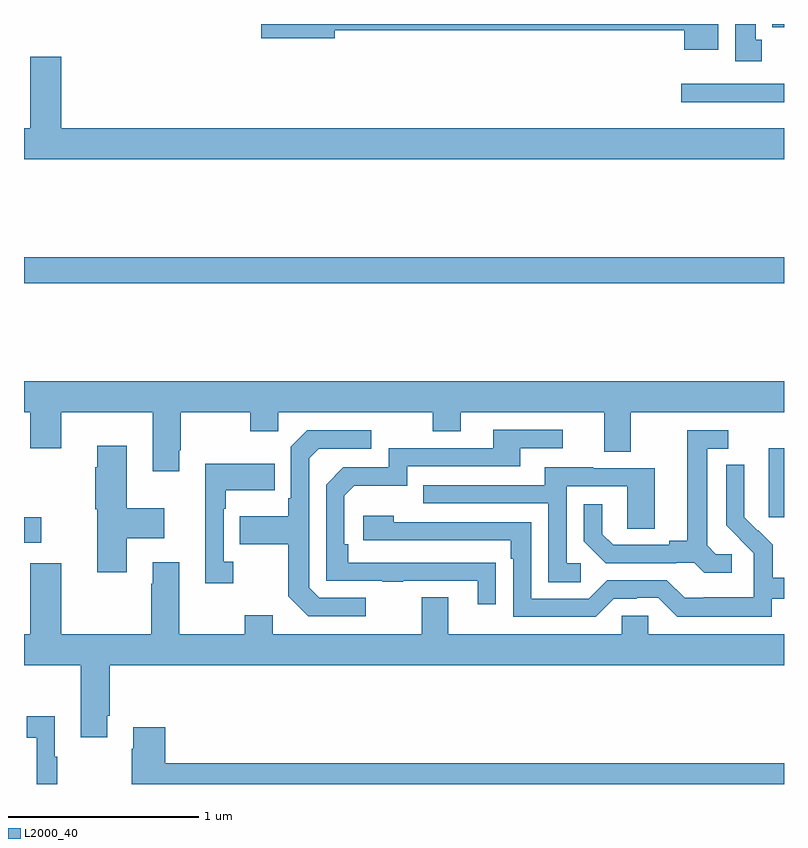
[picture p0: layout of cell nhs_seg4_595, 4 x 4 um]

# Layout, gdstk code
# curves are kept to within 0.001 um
import gdstk
lib = gdstk.Library(unit=1e-6, precision=1e-09)
def R(c, l, rs):  # rectangles x0, y0, x1, y1
    for r in rs: c.add(gdstk.rectangle(r[:2], r[2:], *l))
def P(c, l, *ps):  # polygons
    for p in ps: c.add(gdstk.Polygon(p, *l))
L2000_40 = (2000, 40)

nhs_seg4_595 = lib.new_cell('nhs_seg4_595')
R(nhs_seg4_595, L2000_40, [(141,760.169,141.091,760.304), (144.92,760.305,145,760.666), (141,761.536,145,761.672), (144.459,762.488,145,762.585), (144.938,762.884,145,762.9)])
P(nhs_seg4_595, L2000_40, [(144.655,762.9),(142.248,762.9),(142.248,762.826),(142.636,762.826),(142.636,762.868),(144.476,762.868),(144.476,762.764),(144.655,762.764)],
  [(144.883,762.818),(144.85,762.818),(144.85,762.9),(144.743,762.9),(144.743,762.705),(144.883,762.705)],
  [(145,762.352),(141.196,762.352),(141.196,762.727),(141.032,762.727),(141.032,762.352),(141,762.352),(141,762.188),(145,762.188)],
  [(141.817,760.657),(141.825,760.657),(141.825,760.856),(142.192,760.856),(142.192,760.757),(142.338,760.757),(142.338,760.856),(143.152,760.856),(143.152,760.757),(143.299,760.757),(143.299,760.856),(144.053,760.856),(144.053,760.648),(144.193,760.648),(144.193,760.856),(145,760.856),(145,761.02),(141,761.02),(141,760.856),(141.032,760.856),(141.032,760.668),(141.196,760.668),(141.196,760.856),(141.677,760.856),(141.677,760.545),(141.817,760.545)],
  [(143.483,760.064),(142.706,760.065),(142.706,760.162),(142.686,760.162),(142.686,760.416),(142.739,760.469),(143.016,760.469),(143.016,760.572),(143.611,760.572),(143.611,760.668),(143.836,760.668),(143.836,760.764),(143.471,760.764),(143.471,760.668),(142.92,760.668),(142.92,760.566),(142.68,760.566),(142.59,760.476),(142.59,759.969),(142.885,759.969),(142.885,759.964),(142.997,759.964),(142.997,759.969),(143.387,759.969),(143.387,759.846),(143.483,759.846)],
  [(142.798,759.879),(142.554,759.879),(142.5,759.933),(142.5,760.614),(142.551,760.665),(142.828,760.665),(142.828,760.761),(142.491,760.761),(142.404,760.674),(142.404,760.405),(142.392,760.405),(142.392,760.309),(142.135,760.309),(142.135,760.162),(142.392,760.162),(142.392,759.889),(142.497,759.783),(142.798,759.783)],
  [(144.724,760.11),(144.642,760.11),(144.595,760.157),(144.595,760.665),(144.706,760.665),(144.706,760.761),(144.491,760.761),(144.491,760.181),(144.395,760.181),(144.395,760.158),(144.1,760.158),(144.043,760.215),(144.043,760.372),(143.946,760.372),(143.946,760.178),(144.062,760.062),(144.434,760.062),(144.434,760.065),(144.528,760.065),(144.58,760.013),(144.724,760.013)],
  [(141.541,760.193),(141.739,760.193),(141.739,760.351),(141.541,760.351),(141.541,760.681),(141.386,760.681),(141.386,760.568),(141.374,760.568),(141.374,760.347),(141.386,760.347),(141.386,760.014),(141.541,760.014)],
  [(142.102,760.07),(142.05,760.07),(142.05,760.349),(142.063,760.349),(142.063,760.445),(142.319,760.445),(142.319,760.585),(141.953,760.585),(141.953,759.957),(142.102,759.957)],
  [(144.936,759.876),(145,759.876),(145,759.985),(144.941,759.985),(144.941,760.159),(144.864,760.236),(144.861,760.233),(144.791,760.304),(144.792,760.58),(144.696,760.58),(144.696,760.262),(144.842,760.114),(144.842,760.017),(144.84,760.017),(144.84,759.883),(144.577,759.883),(144.577,759.879),(144.477,759.879),(144.384,759.972),(144.069,759.972),(143.973,759.876),(143.67,759.876),(143.67,760.278),(142.946,760.278),(142.946,760.312),(142.785,760.312),(142.785,760.182),(143.561,760.182),(143.561,760.085),(143.574,760.085),(143.574,759.78),(144.009,759.78),(144.105,759.876),(144.224,759.876),(144.224,759.879),(144.339,759.879),(144.439,759.779),(144.936,759.779)],
  [(143.929,760.062),(143.856,760.062),(143.856,760.467),(144.174,760.467),(144.174,760.243),(144.319,760.243),(144.319,760.563),(143.995,760.563),(143.995,760.567),(143.741,760.567),(143.741,760.473),(143.101,760.473),(143.101,760.377),(143.76,760.377),(143.76,759.961),(143.929,759.961)],
  [(141.439,759.259),(141.452,759.259),(141.452,759.524),(145,759.524),(145,759.688),(144.285,759.688),(144.285,759.786),(144.147,759.786),(144.147,759.688),(143.233,759.688),(143.233,759.883),(143.093,759.883),(143.093,759.688),(142.309,759.688),(142.309,759.787),(142.162,759.787),(142.162,759.688),(141.817,759.688),(141.817,760.066),(141.677,760.066),(141.677,759.953),(141.67,759.953),(141.67,759.688),(141.196,759.688),(141.196,760.063),(141.032,760.063),(141.032,759.688),(141,759.688),(141,759.524),(141.299,759.524),(141.299,759.147),(141.439,759.147)],
  [(141.175,759.043),(141.163,759.043),(141.163,759.256),(141.015,759.256),(141.015,759.143),(141.066,759.143),(141.066,758.9),(141.175,758.9)],
  [(145,759.008),(141.743,759.008),(141.743,759.199),(141.575,759.199),(141.575,759.086),(141.568,759.086),(141.568,758.9),(145,758.9)])

lib.write_gds('nhs_seg4_595.gds')
